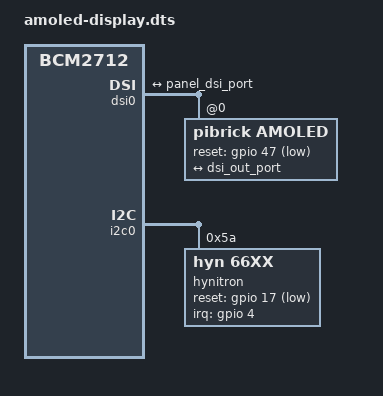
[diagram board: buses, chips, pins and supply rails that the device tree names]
/dts-v1/;
/plugin/;
/ {
	compatible = "brcm,bcm2712", "raspberrypi,5-compute-module", "raspberrypi,5-model-b";

	fragment@0 {
		target = <&dsi0>;
		__overlay__{
			status = "okay";
			#address-cells = <1>;
			#size-cells = <0>;
			port {
				dsi_out_port:endpoint {
					remote-endpoint = <&panel_dsi_port>;
				};
			};

			pibrick:pibrick@0 {
				compatible    = "pibrick,amoled";
				status        = "okay";
				reg           = <0>;
				reset-gpios   = <&gpio 47 1>;   // Dummy GPIO , Unused
				rotation      = <0>;
				port {
					panel_dsi_port: endpoint {
						remote-endpoint = <&dsi_out_port>;
					};
				};
			};
		};
	};

	fragment@1 {
		target = <&gpio>;
		__overlay__ {
			pibrick_pins: pibrick_pins {
				brcm,pins = <47>;
				brcm,function = <1>; // out
				brcm,pull = <1>; // off
			};
		};
	};

	fragment@2 {
		target = <&i2c0>;
		__overlay__ {
			#address-cells = <1>;
			#size-cells = <0>;
			status = "okay";

			hynitron@5A {
				compatible = "hyn,66xx";
				reg = <0x5A>;

				interrupt-parent = <&gpio>;
				interrupts = <4 2>;
				reset-gpio = <&gpio 17 1>;
				irq-gpio = <&gpio 4 2>; 
				
				panel = <&pibrick>;

				max-touch-number = <5>;
				display-coords = <0 0 1080 1240>;
				pos-swap = <1>;
				posx-reverse = <0>;
				posy-reverse = <0>;
			};
		};
	};
	
};
